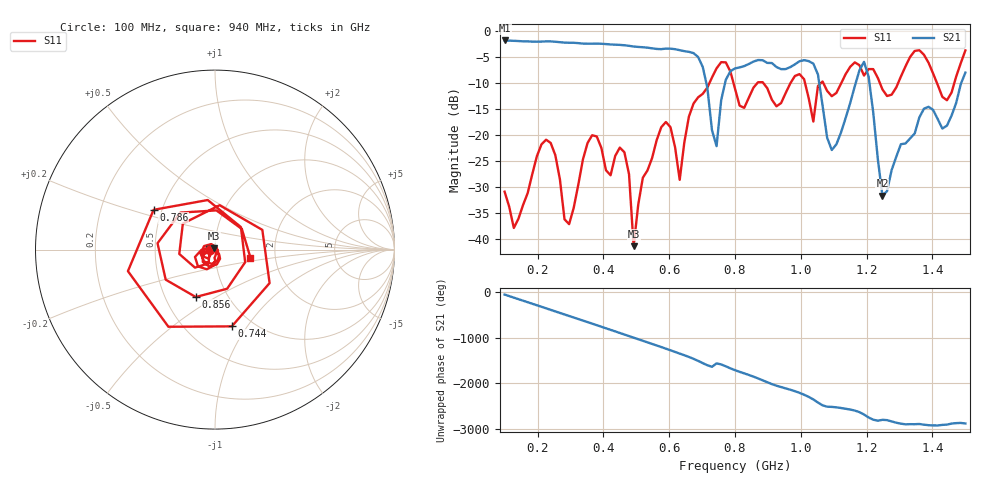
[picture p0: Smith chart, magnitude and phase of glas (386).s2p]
! NanoVNA-App
! Date: 2025-09-25 15:58:29
! Start: 100MHz Stop: 1,5GHz Points: 101
! S-Parameter data: F S11 S21 S12 S22
# Hz S RI R 50
!  Frequency  S11_Real  S11_Imag  S21_Real  S21_Imag  S12_Real  S12_Imag  S22_Real  S22_Imag
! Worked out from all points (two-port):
!   101 points, 100 MHz to 1.5 GHz, reference 50 ohm
!   highest |S21| = -1.80 dB at 100 MHz (marker M1); lowest = -31.7 dB at 1.248 GHz (marker M2)
!   |S21| within 3 dB of the highest: start of sweep to 684.4 MHz
!   lowest |S11| = -41.4 dB at 492 MHz (marker M3), VSWR 1.02, Z = 49.5 + j0.646 ohm
!   |S11| at or under -10 dB: start of sweep to 722.4 MHz; 795.4 MHz to 868 MHz (72.61 MHz wide, 8.73 % of centre); 886 MHz to 968.7 MHz (82.76 MHz wide, 8.92 % of centre) (the widest 3 of 7)
!   S12 and S22 are empty: the file has one direction only
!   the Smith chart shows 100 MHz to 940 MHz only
!   S11 on the Smith chart (normalised r, x): 100 MHz: 0.95, -0.01; 744 MHz: 0.80, -0.85; 786 MHz: 0.45, +0.24; 856 MHz: 0.71, -0.41; 940 MHz: 1.48, -0.14
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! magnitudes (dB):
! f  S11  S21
! 100 MHz  -30.9  -1.8
! 128 MHz  -37.9  -1.9
! 226 MHz  -20.9  -2.0
! 296 MHz  -37.2  -2.2
! 338 MHz  -24.7  -2.4
! 464 MHz  -23.3  -2.7
! 492 MHz  -41.4  -3.0
! 576 MHz  -18.5  -3.5
! 632 MHz  -28.7  -3.7
! 702 MHz  -12.1  -6.9
! 744 MHz  -7.2  -22.2
! 786 MHz  -7.8  -7.7
! 800 MHz  -11.1  -7.2
! 856 MHz  -10.9  -5.9
! 940 MHz  -13.9  -7.3
! 996 MHz  -8.3  -5.8
! 1.038 GHz  -17.4  -6.3
! 1.094 GHz  -12.5  -22.9
! 1.192 GHz  -8.6  -5.9
! 1.248 GHz  -11.2  -31.7
! 1.276 GHz  -12.2  -26.7
! 1.5 GHz  -3.7  -8.0
